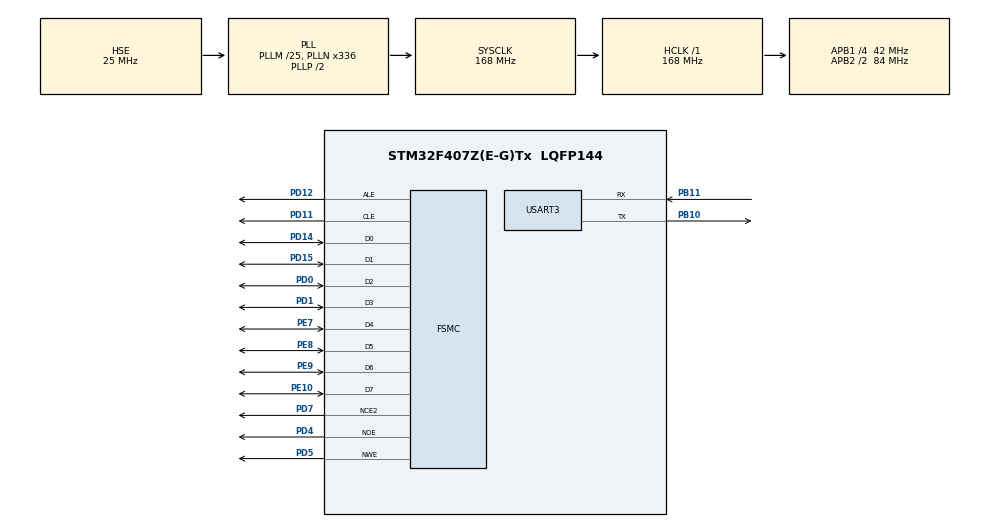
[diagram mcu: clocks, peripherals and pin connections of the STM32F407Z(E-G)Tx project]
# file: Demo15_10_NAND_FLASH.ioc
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FSMC.AttributeSpaceHiZSetupTime1=50
FSMC.AttributeSpaceHoldSetupTime1=50
FSMC.AttributeSpaceSetupTime1=50
FSMC.AttributeSpaceWaitSetupTime1=50
FSMC.CommonSpaceHiZSetupTime1=50
FSMC.CommonSpaceHoldSetupTime1=50
FSMC.CommonSpaceSetupTime1=50
FSMC.CommonSpaceWaitSetupTime1=50
FSMC.ECCPageSize1=FSMC_NAND_ECC_PAGE_SIZE_512BYTE
FSMC.EccComputation1=FSMC_NAND_ECC_ENABLE
FSMC.NandBlockNbr1=1024
FSMC.NandBlockSize1=64
FSMC.NandExtraCommandEnable1=ENABLE
FSMC.NandPageSize1=2048
FSMC.NandPlaneNbr1=1
FSMC.NandPlaneSize1=1024
FSMC.NandSpareAreaSize1=64
FSMC.TARSetupTime1=1
FSMC.TCLRSetupTime1=1
Mcu.Family=STM32F4
Mcu.Name=STM32F407Z(E-G)Tx
Mcu.Package=LQFP144
NVIC.PriorityGroup=NVIC_PRIORITYGROUP_4
PA13.Mode=Serial_Wire
PA13.Signal=SYS_JTMS-SWDIO
PA14.Mode=Serial_Wire
PA14.Signal=SYS_JTCK-SWCLK
PB10.Mode=Asynchronous
PB10.Signal=USART3_TX
PB11.Mode=Asynchronous
PB11.Signal=USART3_RX
PD0.Signal=FSMC_D2_DA2
PD1.Signal=FSMC_D3_DA3
PD11.Signal=FSMC_A16_CLE
PD12.Signal=FSMC_A17_ALE
PD14.Signal=FSMC_D0_DA0
PD15.Signal=FSMC_D1_DA1
PD4.Signal=FSMC_NOE
PD5.Signal=FSMC_NWE
PD7.Mode=NandChipSelect2_1
PD7.Signal=FSMC_NCE2
PE10.Signal=FSMC_D7_DA7
PE7.Signal=FSMC_D4_DA4
PE8.Signal=FSMC_D5_DA5
PE9.Signal=FSMC_D6_DA6
PH0-OSC_IN.Mode=HSE-External-Oscillator
PH0-OSC_IN.Signal=RCC_OSC_IN
PH1-OSC_OUT.Mode=HSE-External-Oscillator
PH1-OSC_OUT.Signal=RCC_OSC_OUT
ProjectManager.HeapSize=0x1000
ProjectManager.StackSize=0x1000
ProjectManager.TargetToolchain=STM32CubeIDE
RCC.48MHZClocksFreq_Value=84000000
RCC.AHBFreq_Value=168000000
RCC.APB1CLKDivider=RCC_HCLK_DIV4
RCC.APB1Freq_Value=42000000
RCC.APB1TimFreq_Value=84000000
RCC.APB2CLKDivider=RCC_HCLK_DIV2
RCC.APB2Freq_Value=84000000
RCC.APB2TimFreq_Value=168000000
RCC.CortexFreq_Value=168000000
RCC.HCLKFreq_Value=168000000
RCC.HSE_VALUE=25000000
RCC.HSI_VALUE=16000000
RCC.LSE_VALUE=32768
RCC.PLLM=25
RCC.PLLN=336
RCC.PLLSourceVirtual=RCC_PLLSOURCE_HSE
RCC.SYSCLKFreq_VALUE=168000000
RCC.SYSCLKSource=RCC_SYSCLKSOURCE_PLLCLK
RCC.VCOOutputFreq_Value=336000000
SH.FSMC_A16_CLE.0=FSMC_CLE,8b-dmux1
SH.FSMC_A17_ALE.0=FSMC_ALE,8b-dmux1
SH.FSMC_D0_DA0.0=FSMC_D0,8b-dmux1
SH.FSMC_D1_DA1.0=FSMC_D1,8b-dmux1
SH.FSMC_D2_DA2.0=FSMC_D2,8b-dmux1
SH.FSMC_D3_DA3.0=FSMC_D3,8b-dmux1
SH.FSMC_D4_DA4.0=FSMC_D4,8b-dmux1
SH.FSMC_D5_DA5.0=FSMC_D5,8b-dmux1
SH.FSMC_D6_DA6.0=FSMC_D6,8b-dmux1
SH.FSMC_D7_DA7.0=FSMC_D7,8b-dmux1
SH.FSMC_NOE.0=FSMC_NOE,8b-dmux1
SH.FSMC_NWE.0=FSMC_NWE,8b-dmux1
USART3.VirtualMode=VM_ASYNC
board=custom

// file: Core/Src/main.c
/* USER CODE BEGIN Header */
/**
  ******************************************************************************
  * @file           : main.c
  * @brief          : Main program body
  ******************************************************************************
  * @attention
  *
  * Copyright (c) 2025 STMicroelectronics.
  * All rights reserved.
  *
  * This software is licensed under terms that can be found in the LICENSE file
  * in the root directory of this software component.
  * If no LICENSE file comes with this software, it is provided AS-IS.
  *
  ******************************************************************************
  */
/* USER CODE END Header */
#include "main.h"
#include "usart.h"
#include "gpio.h"
#include "fsmc.h"

/* USER CODE BEGIN Includes */
#include "stdio.h"
#include "nand_flash.h"
#include <string.h>
/* USER CODE END Includes */

void SystemClock_Config(void);

int main(void)
{

  /* MCU Configuration--------------------------------------------------------*/

  /* Reset of all peripherals, Initializes the Flash interface and the Systick. */
  HAL_Init();

  /* Configure the system clock */
  SystemClock_Config();

  /* Initialize all configured peripherals */
  MX_GPIO_Init();
  MX_FSMC_Init();
  MX_USART3_UART_Init();
  /* USER CODE BEGIN 2 */
  printf("Test NAND FLASH R/W.\n\r");

  HAL_NAND_StateTypeDef sta;	//0=reset,1=ready,2=busy,3=error
  sta = HAL_NAND_GetState(&hnand1);
  if(sta ==0)
	  printf("Nand Flash status is reset.\n\r");
  else if(sta ==1)
  	  printf("Nand Flash status is ready.\n\r");
  else if(sta ==2)
  	  printf("Nand Flash status is busy.\n\r");
  else if(sta ==3)
  	  printf("Nand Flash status is error.\n\r");

  printf("Nand Flash pagesize = %ld\n",hnand1.Config.PageSize);
  printf("Nand Flash SpareAreaSize = %ld\n",hnand1.Config.SpareAreaSize);
  printf("Nand Flash PlaneSize = %ld\n",hnand1.Config.PlaneSize);
  printf("Nand Flash BlockSize = %ld\n",hnand1.Config.BlockSize);
  printf("Nand Flash BlockNbr = %ld\n",hnand1.Config.BlockNbr);
  printf("Nand Flash PlaneNbr = %ld\n\r",hnand1.Config.PlaneNbr);

  FSMC_NAND_Test();
  /* USER CODE END 2 */

  /* Infinite loop */
  while (1)
  {

  }
}

void SystemClock_Config(void)
{
  RCC_OscInitTypeDef RCC_OscInitStruct = {0};
  RCC_ClkInitTypeDef RCC_ClkInitStruct = {0};

  /** Configure the main internal regulator output voltage
  */
  __HAL_RCC_PWR_CLK_ENABLE();
  __HAL_PWR_VOLTAGESCALING_CONFIG(PWR_REGULATOR_VOLTAGE_SCALE1);

  /** Initializes the RCC Oscillators according to the specified parameters
  * in the RCC_OscInitTypeDef structure.
  */
  RCC_OscInitStruct.OscillatorType = RCC_OSCILLATORTYPE_HSE;
  RCC_OscInitStruct.HSEState = RCC_HSE_ON;
  RCC_OscInitStruct.PLL.PLLState = RCC_PLL_ON;
  RCC_OscInitStruct.PLL.PLLSource = RCC_PLLSOURCE_HSE;
  RCC_OscInitStruct.PLL.PLLM = 25;
  RCC_OscInitStruct.PLL.PLLN = 336;
  RCC_OscInitStruct.PLL.PLLP = RCC_PLLP_DIV2;
  RCC_OscInitStruct.PLL.PLLQ = 4;
  if (HAL_RCC_OscConfig(&RCC_OscInitStruct) != HAL_OK)
  {
    Error_Handler();
  }

  /** Initializes the CPU, AHB and APB buses clocks
  */
  RCC_ClkInitStruct.ClockType = RCC_CLOCKTYPE_HCLK|RCC_CLOCKTYPE_SYSCLK
                              |RCC_CLOCKTYPE_PCLK1|RCC_CLOCKTYPE_PCLK2;
  RCC_ClkInitStruct.SYSCLKSource = RCC_SYSCLKSOURCE_PLLCLK;
  RCC_ClkInitStruct.AHBCLKDivider = RCC_SYSCLK_DIV1;
  RCC_ClkInitStruct.APB1CLKDivider = RCC_HCLK_DIV4;
  RCC_ClkInitStruct.APB2CLKDivider = RCC_HCLK_DIV2;

  if (HAL_RCC_ClockConfig(&RCC_ClkInitStruct, FLASH_LATENCY_5) != HAL_OK)
  {
    Error_Handler();
  }
}

/* USER CODE BEGIN 4 */
void FSMC_NAND_Test(void)
{
  //logic drive mapped to physic drive
  NAND_AddressTypeDef addr ={	//初始�?
		  addr.Page =0,
  	  	  addr.Plane =0,
  	  	  addr.Block =0
  	  	  };
  addr.Page = FLASH_PAGE_63;
  addr.Plane= FLASH_PLANE_0;
  addr.Block= FLASH_BLOCK_1023;

  *(uint32_t*)((uint32_t)(addr.Page)) =ADDR_FLASH_PAGE_63;
  *(uint32_t*)((uint32_t)(addr.Plane)) =ADDR_FLASH_PLANE_0;
  *(uint32_t*)((uint32_t)(addr.Block)) =ADDR_FLASH_BLOCK_1023;

//  *(uint32_t*)((uint32_t)(FLASH_BLOCK_0)) =ADDR_FLASH_BLOCK_0;

  //test erase a block
  printf("test erase a block.\r\n");
  HAL_StatusTypeDef ret = HAL_NAND_Erase_Block(&hnand1, &addr);
  if(ret ==0)
	  printf("erase block is HAL_OK.\n\r");
  else if(ret ==1)
	  printf("erase block is HAL_ERROR.\n\r");
  else if(ret ==2)
	  printf("erase block is HAL_BUSY.\n\r");
  else if(ret ==3)
	  printf("erase block is HAL_TIMEOUT.\n\r");

  // test Reset
  HAL_StatusTypeDef ret1 =HAL_NAND_Reset(&hnand1);	// all bit set 0xFF
  if(ret1 ==0)
	  printf("Nand Flash reset is HAL_OK.\n\r");
  else if(ret1 ==1)
  	  printf("Nand Flash reset is HAL_ERROR.\n\r");
  else if(ret1 ==2)
  	  printf("Nand Flash reset is HAL_BUSY.\n\r");
  else if(ret1 ==3)
  	  printf("Nand Flash reset is HAL_TIMEOUT.\n\r");
  HAL_Delay(500);

  // test READ_ID
  NAND_IDTypeDef info;
  HAL_StatusTypeDef ret2 =HAL_NAND_Read_ID(&hnand1, &info);
  if(ret2 ==0)
	  printf("Nand Flash Read_ID is HAL_OK.\n");
  else if(ret2 ==1)
  	  printf("Nand Flash Read_ID is HAL_ERROR.\n");
  else if(ret2 ==2)
  	  printf("Nand Flash Read_ID is HAL_BUSY.\n");
  else if(ret2 ==3)
  	  printf("Nand Flash Read_ID is HAL_TIMEOUT.\n");

  printf("Nand Flash ID = %02X-%02X-%02X-%02X\n\r",info.Maker_Id, info.Device_Id,info.Third_Id,info.Fourth_Id);

  //test memory Read_Status
/**
  * @brief NAND memory status
  * NAND_VALID_ADDRESS         0x00000100UL
  * NAND_INVALID_ADDRESS       0x00000200UL
  * NAND_TIMEOUT_ERROR         0x00000400UL
  * NAND_BUSY                  0x00000000UL
  * NAND_ERROR                 0x00000001UL
  * NAND_READY                 0x00000040UL
  */
/**
  * @brief  NAND memory read status
  * @param  hnand pointer to a NAND_HandleTypeDef structure that contains
  *                the configuration information for NAND module.
  * @retval NAND status
  */
  uint32_t sta = HAL_NAND_Read_Status(&hnand1);
  if(sta ==0x00000100UL)
	  printf("NAND memory read status is NAND_VALID_ADDRESS.\r\n");
  else if(sta ==0x00000200UL)
	  printf("NAND memory read status is NAND_INVALID_ADDRESS.\r\n");
  else if(sta ==0x00000400UL)
	  printf("NAND memory read status is NAND_TIMEOUT_ERROR.\r\n");
  else if(sta ==0x00000000UL)
	  printf("NAND memory read status is NAND_BUSY.\r\n");
  else if(sta ==0x00000001UL)
	  printf("NAND memory read status is NAND_ERROR.\r\n");
  else if(sta ==0x00000040UL)
	  printf("NAND memory read status is NAND_READY.\r\n");

  printf("\r\n");
  //test write
  uint8_t buffer_write[2048];
  for(int i = 0; i < 2048; i++)
  {
	  buffer_write[i] = (uint8_t)i;
  }

  //Write into page 63 of the {63,0,1023} defined above.
  HAL_StatusTypeDef ret3 = HAL_NAND_Write_Page_8b(&hnand1, &addr, buffer_write, 1);
  if(ret3 == 0)
	  printf("write natural numbers into a page is HAL_OK。\r\n");
  else if(ret3 == 1)
	  printf("write natural numbers into a page is HAL_ERROR。\r\n");
  else if(ret3 == 2)
	  printf("write natural numbers into a page is HAL_BUSY。\r\n");
  else if(ret3 == 3)
	  printf("write natural numbers into a page is HAL_TIMEOUT。\r\n");

  printf("\r\n");

  //test read
  uint8_t buffer1[2048];
  memset(buffer1, 0, 2048);
  HAL_StatusTypeDef ret4 = HAL_NAND_Read_Page_8b(&hnand1, &addr, buffer1, 1);
  if(ret4 == 0)
  {
	  printf("Read a written page, each byte shows natural numbers.\r\n");
	  for(int i = 0; i < 64; i++)
	  {
		  printf("%02X,",buffer1[i]);
	  }
	  printf("\r\n");
  }
  printf("\r\n");

  uint8_t buffer[2048];
  addr.Page = 1;
  addr.Plane= 0;
  addr.Block= 1;
  *(uint32_t*)((uint32_t)(addr.Page)) =ADDR_FLASH_PAGE_1;
  *(uint32_t*)((uint32_t)(addr.Plane)) =ADDR_FLASH_PLANE_0;
  *(uint32_t*)((uint32_t)(addr.Block)) =ADDR_FLASH_BLOCK_1;
  memset(buffer, 0, 2048);
  HAL_StatusTypeDef ret5 = HAL_NAND_Read_Page_8b(&hnand1, &addr, buffer, 1);
  if(ret5 == 0)
  {
	  printf("Read a page that has not been written, each byte shows 0xFF.\r\n");
	  for(int i = 0; i < 64; i++)
	  {
		  printf("%02X,",buffer[i]);
	  }
	  printf("\r\n");
  }

}

int __io_putchar(int ch)
{
	HAL_UART_Transmit(&huart3,(uint8_t*)&ch,1,0xFFFF);
	return ch;
}
/* USER CODE END 4 */

void Error_Handler(void)
{
  __disable_irq();
  while (1)
  {
  }
}
